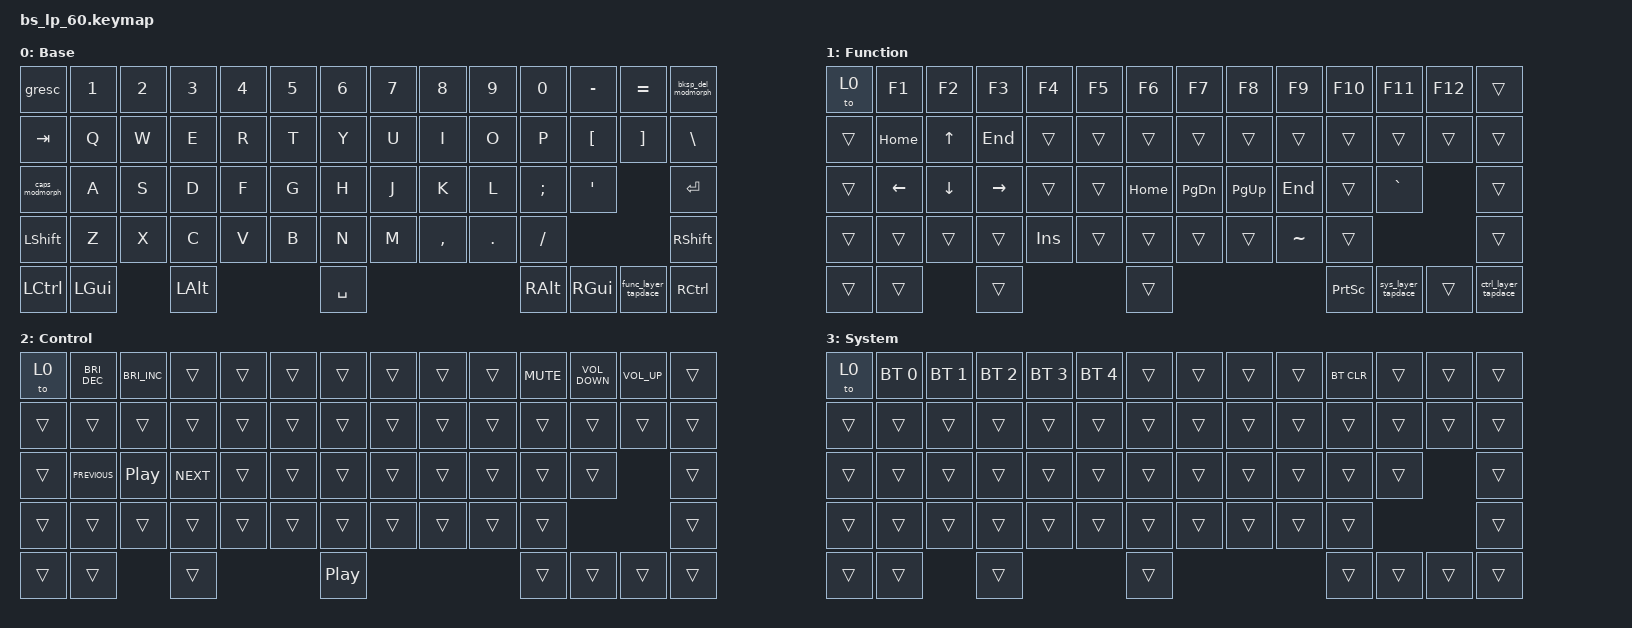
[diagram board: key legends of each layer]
/*
 * Copyright (c) 2021 Cole Smith
 *
 * SPDX-License-Identifier: MIT
 */

#include <dt-bindings/zmk/reset.h>
#include <behaviors.dtsi>
#include <dt-bindings/zmk/bt.h>
#include <dt-bindings/zmk/keys.h>

/ {
    combos {
        compatible = "zmk,combos";

        // Press all four keys together (within 150 ms), on any layer:
        //   Caps + LShift + RAlt + Bksp  -> bootloader (flash mode)
        //   Caps + LShift + RAlt + Esc   -> sys reset (restart the keyboard)
        bootloader_combo {
            bindings = <&bootloader>;
            key-positions = <13 41 28 57>;
            timeout-ms = <150>;
        };

        sys_reset_combo {
            bindings = <&sys_reset>;
            key-positions = <28 41 57 0>;
            timeout-ms = <150>;
        };
    };

    behaviors {
        // Layer keys: hold for the layer while pressed, double-tap to toggle it on and off.
        func_layer_tapdace: func_layer_tapdace {
            compatible = "zmk,behavior-tap-dance";
            label = "FUNC_LAYER_TAPDACE";
            #binding-cells = <0>;
            bindings = <&mo 1>, <&tog 1>;
        };

        ctrl_layer_tapdace: ctrl_layer_tapdace {
            compatible = "zmk,behavior-tap-dance";
            label = "CTRL_LAYER_TAPDACE";
            #binding-cells = <0>;
            bindings = <&mo 2>, <&tog 2>;
        };

        sys_layer_tapdace: sys_layer_tapdace {
            compatible = "zmk,behavior-tap-dance";
            label = "SYS_LAYER_TAPDACE";
            #binding-cells = <0>;
            bindings = <&mo 3>, <&tog 3>;
        };

        // Right Shift turns Backspace into Delete, and the Caps/Fn key into Caps Lock.
        bksp_del_modmorph: bksp_del_modmorph {
            compatible = "zmk,behavior-mod-morph";
            label = "BKSP_DEL_MODMORPH";
            bindings = <&kp BACKSPACE>, <&kp DELETE>;

            #binding-cells = <0>;
            mods = <(MOD_RSFT)>;
        };

        caps_modmorph: caps_modmorph {
            compatible = "zmk,behavior-mod-morph";
            label = "CAPS_MODMORPH";
            bindings = <&func_layer_tapdace>, <&kp CAPSLOCK>;

            #binding-cells = <0>;
            mods = <(MOD_RSFT)>;
        };
    };

    keymap {
        compatible = "zmk,keymap";

        default_layer {
            // -----------------------------------------------------------------------------------------------------------------
            // |  Esc  |   1   |   2   |   3   |   4   |   5   |   6   |   7   |   8   |   9   |   0   |   -   |   =   | Bksp  |
            // |  Tab  |   Q   |   W   |   E   |   R   |   T   |   Y   |   U   |   I   |   O   |   P   |   [   |   ]   |   \   |
            // | Caps/Fn |   A   |   S   |   D   |   F   |   G   |   H   |   J   |   K   |   L   |   ;   |   '   | Enter |
            // | LShift |   Z   |   X   |   C   |   V   |   B   |   N   |   M   |   ,   |   .   |   /   | RShift |
            // | LCtrl | LGui  | LAlt  | Space | RAlt  | RGui  |  Fn   | RCtrl |
            // -----------------------------------------------------------------------------------------------------------------
            // Esc: Shift or Gui + Esc gives ` and ~ (gresc). Bksp: with Right Shift it is Delete.
            // Caps/Fn: hold for the Function layer, double-tap to toggle it; Right Shift + it is Caps Lock.
            // Fn: hold for the Function layer, double-tap to toggle it.

            label = "Base";
            bindings = <
&gresc          &kp N1    &kp N2  &kp N3    &kp N4  &kp N5  &kp N6     &kp N7  &kp N8     &kp N9   &kp N0    &kp MINUS  &kp EQUAL            &bksp_del_modmorph
&kp TAB         &kp Q     &kp W   &kp E     &kp R   &kp T   &kp Y      &kp U   &kp I      &kp O    &kp P     &kp LBKT   &kp RBKT             &kp BSLH
&caps_modmorph  &kp A     &kp S   &kp D     &kp F   &kp G   &kp H      &kp J   &kp K      &kp L    &kp SEMI  &kp SQT                         &kp RET
&kp LSHFT       &kp Z     &kp X   &kp C     &kp V   &kp B   &kp N      &kp M   &kp COMMA  &kp DOT  &kp FSLH                                  &kp RSHFT
&kp LCTRL       &kp LGUI          &kp LALT                  &kp SPACE                              &kp RALT  &kp RGUI   &func_layer_tapdace  &kp RCTRL
            >;
        };

        function_layer {
            // -----------------------------------------------------------------------------------------------------------------
            // | Base  |  F1   |  F2   |  F3   |  F4   |  F5   |  F6   |  F7   |  F8   |  F9   |  F10  |  F11  |  F12  |  __   |
            // |  __   | Home  |  Up   |  End  |  __   |  __   |  __   |  __   |  __   |  __   |  __   |  __   |  __   |  __   |
            // |  __   | Left  | Down  | Right |  __   |  __   | Home  | PgDn  | PgUp  |  End  |  __   |   `   |  __   |
            // |  __   |  __   |  __   |  __   |  Ins  |  __   |  __   |  __   |  __   |   ~   |  __   |  __   |
            // |  __   |  __   |  __   |  __   | PrtSc |  Sys  |  __   | Ctrl  |
            // -----------------------------------------------------------------------------------------------------------------
            // __ passes the key through to the Base layer. Sys and Ctrl: hold to use that layer, double-tap to toggle it.
            // Reach this layer with Fn or Caps/Fn; Base (top-left) returns to the Base layer.

            label = "Function";
            bindings = <
&to 0   &kp F1    &kp F2    &kp F3     &kp F4      &kp F5  &kp F6    &kp F7         &kp F8       &kp F9     &kp F10    &kp F11             &kp F12  &trans
&trans  &kp HOME  &kp UP    &kp END    &trans      &trans  &trans    &trans         &trans       &trans     &trans     &trans              &trans   &trans
&trans  &kp LEFT  &kp DOWN  &kp RIGHT  &trans      &trans  &kp HOME  &kp PAGE_DOWN  &kp PAGE_UP  &kp END    &trans     &kp GRAVE                    &trans
&trans  &trans    &trans    &trans     &kp INSERT  &trans  &trans    &trans         &trans       &kp TILDE  &trans                                  &trans
&trans  &trans              &trans                         &trans                                           &kp PSCRN  &sys_layer_tapdace  &trans   &ctrl_layer_tapdace
            >;
        };

        control_layer {
            // -----------------------------------------------------------------------------------------------------------------
            // | Base  | Bri-  | Bri+  |  __   |  __   |  __   |  __   |  __   |  __   |  __   | Mute  | Vol-  | Vol+  |  __   |
            // |  __   |  __   |  __   |  __   |  __   |  __   |  __   |  __   |  __   |  __   |  __   |  __   |  __   |  __   |
            // |  __   | Prev  | Play  | Next  |  __   |  __   |  __   |  __   |  __   |  __   |  __   |  __   |  __   |
            // |  __   |  __   |  __   |  __   |  __   |  __   |  __   |  __   |  __   |  __   |  __   |  __   |
            // |  __   |  __   |  __   | Play  |  __   |  __   |  __   |  __   |
            // -----------------------------------------------------------------------------------------------------------------
            // Reach this layer by holding Fn, then holding Ctrl (bottom-right). Base (top-left) returns to the Base layer.

            bindings = <
&to 0   &kp C_BRIGHTNESS_DEC  &kp C_BRIGHTNESS_INC  &trans      &trans  &trans  &trans    &trans  &trans  &trans  &kp C_MUTE  &kp C_VOLUME_DOWN  &kp C_VOLUME_UP  &trans
&trans  &trans                &trans                &trans      &trans  &trans  &trans    &trans  &trans  &trans  &trans      &trans             &trans           &trans
&trans  &kp C_PREVIOUS        &kp C_PP              &kp C_NEXT  &trans  &trans  &trans    &trans  &trans  &trans  &trans      &trans                              &trans
&trans  &trans                &trans                &trans      &trans  &trans  &trans    &trans  &trans  &trans  &trans                                          &trans
&trans  &trans                                      &trans                      &kp C_PP                          &trans      &trans             &trans           &trans
            >;

            label = "Control";
        };

        system_layer {
            // -----------------------------------------------------------------------------------------------------------------
            // | Base  |  BT0  |  BT1  |  BT2  |  BT3  |  BT4  |  __   |  __   |  __   |  __   | BtClr |  __   |  __   |  __   |
            // |  __   |  __   |  __   |  __   |  __   |  __   |  __   |  __   |  __   |  __   |  __   |  __   |  __   |  __   |
            // |  __   |  __   |  __   |  __   |  __   |  __   |  __   |  __   |  __   |  __   |  __   |  __   |  __   |
            // |  __   |  __   |  __   |  __   |  __   |  __   |  __   |  __   |  __   |  __   |  __   |  __   |
            // |  __   |  __   |  __   |  __   |  __   |  __   |  __   |  __   |
            // -----------------------------------------------------------------------------------------------------------------
            // Reach this layer by holding Fn, then holding Sys (bottom row, where Right Gui is). Base (top-left) returns to Base.
            // BT0 to BT4 select Bluetooth profiles 0 to 4 (profile 0 = 1 blue LED flash, 1 = 2 flashes, ...). BtClr clears the current profile's pairing.

            bindings = <
&to 0   &bt BT_SEL 0  &bt BT_SEL 1  &bt BT_SEL 2  &bt BT_SEL 3  &bt BT_SEL 4  &trans  &trans  &trans  &trans  &bt BT_CLR  &trans  &trans  &trans
&trans  &trans        &trans        &trans        &trans        &trans        &trans  &trans  &trans  &trans  &trans      &trans  &trans  &trans
&trans  &trans        &trans        &trans        &trans        &trans        &trans  &trans  &trans  &trans  &trans      &trans          &trans
&trans  &trans        &trans        &trans        &trans        &trans        &trans  &trans  &trans  &trans  &trans                      &trans
&trans  &trans                      &trans                                    &trans                          &trans      &trans  &trans  &trans
            >;

            label = "System";
        };
    };
};
